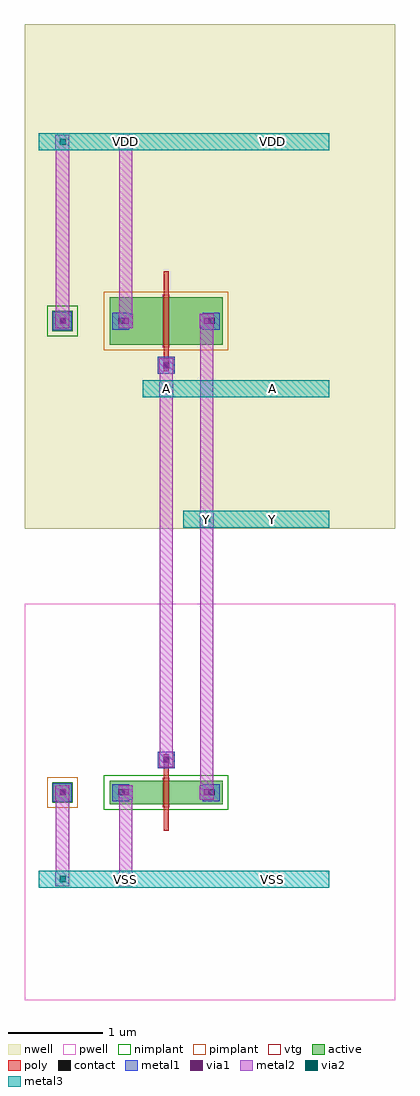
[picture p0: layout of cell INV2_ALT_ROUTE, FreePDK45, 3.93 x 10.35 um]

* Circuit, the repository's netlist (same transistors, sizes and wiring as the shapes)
.subckt INV2_ALT_ROUTE VDD VSS A Y
M0 Y A VDD VDD PMOS_VTG W=0.5U L=0.05U
M1 Y A VSS VSS NMOS_VTG W=0.25U L=0.05U
.ends INV2_ALT_ROUTE
.end

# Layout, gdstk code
import gdstk
lib = gdstk.Library(unit=1e-6, precision=5e-10)
def R(c, l, rs):  # rectangles x0, y0, x1, y1
    for r in rs: c.add(gdstk.rectangle(r[:2], r[2:], *l))
active = (1, 0)
pwell = (2, 0)
nwell = (3, 0)
nimplant = (4, 0)
pimplant = (5, 0)
vtg = (6, 0)
poly = (9, 0)
contact = (10, 0)
metal1 = (11, 0)
via1 = (12, 0)
metal2 = (13, 0)
via2 = (14, 0)
metal3 = (15, 0)

inv2_alt_route = lib.new_cell('INV2_ALT_ROUTE')
R(inv2_alt_route, active, [(0.6,1.875,1.8,2.125), (-0.01,1.89,0.21,2.11), (0.6,6.75,1.8,7.25), (-0.01,6.89,0.21,7.11)])
R(inv2_alt_route, pwell, [(-0.3,-0.2,3.63,4)])
R(inv2_alt_route, nwell, [(-0.3,4.8,3.63,10.15)])
R(inv2_alt_route, nimplant, [(0.54,1.815,1.86,2.185), (-0.06,6.84,0.26,7.16)])
R(inv2_alt_route, pimplant, [(-0.06,1.84,0.26,2.16), (0.54,6.69,1.86,7.31)])
R(inv2_alt_route, vtg, [(1.165,1.845,1.235,2.155), (1.165,6.72,1.235,7.28)])
R(inv2_alt_route, poly, [(1.175,1.595,1.225,2.405), (1.175,6.47,1.225,7.53)])
R(inv2_alt_route, contact, [(0.07,1.97,0.135,2.035), (0.69,1.97,0.755,2.035), (1.65,1.97,1.715,2.035), (1.17,2.315,1.235,2.38), (1.17,6.5,1.235,6.565), (0.07,6.97,0.135,7.035), (0.69,6.97,0.755,7.035), (1.65,6.97,1.715,7.035)])
R(inv2_alt_route, metal1, [(0,1.9,0.2,2.1), (0.63,1.91,0.81,2.09), (1.59,1.91,1.77,2.09), (0.025,1.925,0.175,2.075), (0.025,1.925,0.175,2.075), (0.695,1.925,0.845,2.075), (1.555,1.925,1.705,2.075), (1.11,2.255,1.29,2.435), (1.125,2.27,1.275,2.42), (1.11,6.44,1.29,6.62), (1.125,6.455,1.275,6.605), (0,6.9,0.2,7.1), (0.63,6.91,0.81,7.09), (1.59,6.91,1.77,7.09), (0.025,6.925,0.175,7.075), (0.025,6.925,0.175,7.075), (0.695,6.925,0.845,7.075), (1.555,6.925,1.705,7.075)])
R(inv2_alt_route, via1, [(0.07,1.97,0.135,2.035), (0.07,1.97,0.135,2.035), (0.74,1.97,0.805,2.035), (1.6,1.97,1.665,2.035), (1.17,2.315,1.235,2.38), (1.17,6.5,1.235,6.565), (0.07,6.97,0.135,7.035), (0.07,6.97,0.135,7.035), (0.74,6.97,0.805,7.035), (1.6,6.97,1.665,7.035)])
R(inv2_alt_route, metal2, [(0.025,1.005,0.175,1.155), (0.025,1.005,0.175,1.155), (0.695,1.005,0.845,1.155), (0.03,1.08,0.17,2), (0.03,1.08,0.17,2), (0.7,1.08,0.84,2), (0.025,1.925,0.175,2.075), (0.025,1.925,0.175,2.075), (0.695,1.925,0.845,2.075), (1.555,1.925,1.705,2.075), (1.56,2,1.7,4.9), (1.125,2.27,1.275,2.42), (1.13,2.345,1.27,6.28), (1.555,4.825,1.705,4.975), (1.555,4.825,1.705,4.975), (1.56,4.9,1.7,7), (1.125,6.205,1.275,6.355), (1.125,6.205,1.275,6.355), (1.13,6.28,1.27,6.53), (1.125,6.455,1.275,6.605), (0.025,6.925,0.175,7.075), (0.025,6.925,0.175,7.075), (0.695,6.925,0.845,7.075), (1.555,6.925,1.705,7.075), (0.03,7,0.17,8.9), (0.03,7,0.17,8.9), (0.7,7,0.84,8.9), (0.025,8.825,0.175,8.975), (0.025,8.825,0.175,8.975), (0.695,8.825,0.845,8.975)])
R(inv2_alt_route, via2, [(0.07,1.05,0.135,1.115), (0.07,1.05,0.135,1.115), (0.74,1.05,0.805,1.115), (1.6,4.87,1.665,4.935), (1.6,4.87,1.665,4.935), (1.17,6.25,1.235,6.315), (1.17,6.25,1.235,6.315), (0.07,8.87,0.135,8.935), (0.07,8.87,0.135,8.935), (0.74,8.87,0.805,8.935)])
R(inv2_alt_route, metal3, [(-0.15,0.99,1.02,1.17), (1.02,0.99,2.93,1.17), (0.025,1.005,0.175,1.155), (0.025,1.005,0.175,1.155), (0.695,1.005,0.845,1.155), (1.38,4.81,1.88,4.99), (1.88,4.81,2.93,4.99), (1.555,4.825,1.705,4.975), (1.555,4.825,1.705,4.975), (0.95,6.19,1.45,6.37), (1.45,6.19,2.93,6.37), (1.125,6.205,1.275,6.355), (1.125,6.205,1.275,6.355), (-0.15,8.81,1.02,8.99), (1.02,8.81,2.93,8.99), (0.025,8.825,0.175,8.975), (0.025,8.825,0.175,8.975), (0.695,8.825,0.845,8.975)])
inv2_alt_route.add(gdstk.Label('VDD', (2.33,8.9), layer=15, texttype=0))
inv2_alt_route.add(gdstk.Label('VDD', (2.33,8.9), layer=15, texttype=1))
inv2_alt_route.add(gdstk.Label('VDD', (2.33,8.9), layer=15, texttype=2))
inv2_alt_route.add(gdstk.Label('VDD', (0.77,8.9), layer=13, texttype=0))
inv2_alt_route.add(gdstk.Label('VDD', (0.77,8.9), layer=13, texttype=1))
inv2_alt_route.add(gdstk.Label('VDD', (0.77,8.9), layer=13, texttype=2))
inv2_alt_route.add(gdstk.Label('VSS', (2.33,1.08), layer=15, texttype=0))
inv2_alt_route.add(gdstk.Label('VSS', (2.33,1.08), layer=15, texttype=1))
inv2_alt_route.add(gdstk.Label('VSS', (2.33,1.08), layer=15, texttype=2))
inv2_alt_route.add(gdstk.Label('VSS', (0.77,1.08), layer=13, texttype=0))
inv2_alt_route.add(gdstk.Label('VSS', (0.77,1.08), layer=13, texttype=1))
inv2_alt_route.add(gdstk.Label('VSS', (0.77,1.08), layer=13, texttype=2))
inv2_alt_route.add(gdstk.Label('A', (2.33,6.28), layer=15, texttype=0))
inv2_alt_route.add(gdstk.Label('A', (2.33,6.28), layer=15, texttype=1))
inv2_alt_route.add(gdstk.Label('A', (2.33,6.28), layer=15, texttype=2))
inv2_alt_route.add(gdstk.Label('A', (1.2,6.28), layer=13, texttype=0))
inv2_alt_route.add(gdstk.Label('A', (1.2,6.28), layer=13, texttype=1))
inv2_alt_route.add(gdstk.Label('A', (1.2,6.28), layer=13, texttype=2))
inv2_alt_route.add(gdstk.Label('Y', (2.33,4.9), layer=15, texttype=0))
inv2_alt_route.add(gdstk.Label('Y', (2.33,4.9), layer=15, texttype=1))
inv2_alt_route.add(gdstk.Label('Y', (2.33,4.9), layer=15, texttype=2))
inv2_alt_route.add(gdstk.Label('Y', (1.63,4.9), layer=13, texttype=0))
inv2_alt_route.add(gdstk.Label('Y', (1.63,4.9), layer=13, texttype=1))
inv2_alt_route.add(gdstk.Label('Y', (1.63,4.9), layer=13, texttype=2))

lib.write_gds('INV2_ALT_ROUTE.gds')
